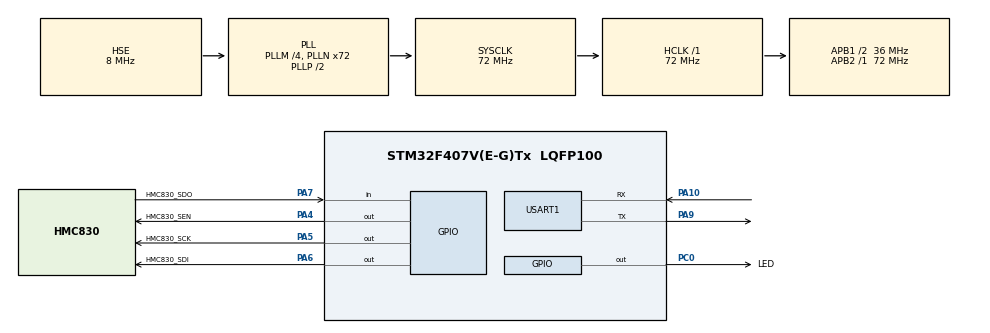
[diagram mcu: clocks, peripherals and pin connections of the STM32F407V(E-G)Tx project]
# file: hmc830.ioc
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Mcu.Family=STM32F4
Mcu.Name=STM32F407V(E-G)Tx
Mcu.Package=LQFP100
NVIC.PriorityGroup=NVIC_PRIORITYGROUP_4
NVIC.TIM1_UP_TIM10_IRQn=true\:15\:0\:true\:false\:true\:true\:true\:true
PA10.Mode=Asynchronous
PA10.Signal=USART1_RX
PA13.Mode=Serial_Wire
PA13.Signal=SYS_JTMS-SWDIO
PA14.Mode=Serial_Wire
PA14.Signal=SYS_JTCK-SWCLK
PA4.GPIO_Label=HMC830_SEN
PA4.GPIO_ModeDefaultOutputPP=GPIO_MODE_OUTPUT_PP
PA4.GPIO_PuPd=GPIO_PULLDOWN
PA4.GPIO_Speed=GPIO_SPEED_FREQ_VERY_HIGH
PA4.Signal=GPIO_Output
PA5.GPIO_Label=HMC830_SCK
PA5.GPIO_PuPd=GPIO_PULLDOWN
PA5.GPIO_Speed=GPIO_SPEED_FREQ_VERY_HIGH
PA5.Signal=GPIO_Output
PA6.GPIO_Label=HMC830_SDI
PA6.GPIO_PuPd=GPIO_PULLDOWN
PA6.GPIO_Speed=GPIO_SPEED_FREQ_VERY_HIGH
PA6.Signal=GPIO_Output
PA7.GPIO_Label=HMC830_SDO
PA7.GPIO_PuPd=GPIO_NOPULL
PA7.Signal=GPIO_Input
PA9.Mode=Asynchronous
PA9.Signal=USART1_TX
PC0.GPIO_Label=LED
PC0.GPIO_Speed=GPIO_SPEED_FREQ_VERY_HIGH
PC0.Signal=GPIO_Output
PC14-OSC32_IN.Mode=LSE-External-Oscillator
PC14-OSC32_IN.Signal=RCC_OSC32_IN
PC15-OSC32_OUT.Mode=LSE-External-Oscillator
PC15-OSC32_OUT.Signal=RCC_OSC32_OUT
PH0-OSC_IN.Mode=HSE-External-Oscillator
PH0-OSC_IN.Signal=RCC_OSC_IN
PH1-OSC_OUT.Mode=HSE-External-Oscillator
PH1-OSC_OUT.Signal=RCC_OSC_OUT
ProjectManager.HeapSize=0x200
ProjectManager.StackSize=0x400
ProjectManager.TargetToolchain=Makefile
RCC.48MHZClocksFreq_Value=48000000
RCC.AHBFreq_Value=72000000
RCC.APB1CLKDivider=RCC_HCLK_DIV2
RCC.APB1Freq_Value=36000000
RCC.APB1TimFreq_Value=72000000
RCC.APB2Freq_Value=72000000
RCC.APB2TimFreq_Value=72000000
RCC.CortexFreq_Value=72000000
RCC.EnbaleCSS=true
RCC.HCLKFreq_Value=72000000
RCC.HSE_VALUE=8000000
RCC.HSI_VALUE=16000000
RCC.PLLM=4
RCC.PLLN=72
RCC.PLLQ=3
RCC.PLLSourceVirtual=RCC_PLLSOURCE_HSE
RCC.SYSCLKFreq_VALUE=72000000
RCC.SYSCLKSource=RCC_SYSCLKSOURCE_PLLCLK
RCC.VCOOutputFreq_Value=144000000
TIM1.Period=1249
TIM1.Prescaler=8399
USART1.VirtualMode=VM_ASYNC
VP_RNG_VS_RNG.Mode=RNG_Activate
VP_TIM1_VS_ClockSourceINT.Mode=Internal
board=custom

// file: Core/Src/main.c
/* USER CODE BEGIN Header */
/**
 ******************************************************************************
 * @file           : main.c
 * @brief          : Main program body
 ******************************************************************************
 * @attention
 *
 * Copyright (c) 2023 STMicroelectronics.
 * All rights reserved.
 *
 * This software is licensed under terms that can be found in the LICENSE file
 * in the root directory of this software component.
 * If no LICENSE file comes with this software, it is provided AS-IS.
 *
 ******************************************************************************
 */
/* USER CODE END Header */
#include "main.h"
#include "rng.h"
#include "tim.h"
#include "usart.h"
#include "gpio.h"

/* USER CODE BEGIN PV */
unsigned int led_state = 0;
/* USER CODE END PV */

void SystemClock_Config(void);

/* USER CODE BEGIN 0 */
int _write(int file, char *ptr, int len)
{
  HAL_UART_Transmit(&huart1, (const uint8_t *)ptr, len, HAL_MAX_DELAY);
  return len;
}
/* USER CODE END 0 */

int main(void)
{

  /* MCU Configuration--------------------------------------------------------*/

  /* Reset of all peripherals, Initializes the Flash interface and the Systick. */
  HAL_Init();

  /* Configure the system clock */
  SystemClock_Config();

  /* Initialize all configured peripherals */
  MX_GPIO_Init();
  MX_TIM1_Init();
  MX_USART1_UART_Init();
  MX_RNG_Init();
  /* USER CODE BEGIN 2 */

  printf("Hello World.\r\n");
  HAL_TIM_Base_Start_IT(&htim1);

  hmc830_init(
      HMC830_SEN_GPIO_Port, HMC830_SEN_Pin,
      HMC830_SDO_GPIO_Port, HMC830_SDO_Pin,
      HMC830_SDI_GPIO_Port, HMC830_SDI_Pin,
      HMC830_SCK_GPIO_Port, HMC830_SCK_Pin);
  hmc830_set_dividers(20, 0);

  unsigned int reg_buffer[32] = {0};
  hmc830_chip_read_regs(reg_buffer);
  for (unsigned char i = 0; i <= 0x13; ++i)
  {
    printf("Addr %02x: %06x\r\n", i, reg_buffer[i]);
  }

  /* USER CODE END 2 */

  /* Infinite loop */
  while (1)
  {

  }
}

void SystemClock_Config(void)
{
  RCC_OscInitTypeDef RCC_OscInitStruct = {0};
  RCC_ClkInitTypeDef RCC_ClkInitStruct = {0};

  /** Configure the main internal regulator output voltage
   */
  __HAL_RCC_PWR_CLK_ENABLE();
  __HAL_PWR_VOLTAGESCALING_CONFIG(PWR_REGULATOR_VOLTAGE_SCALE1);

  /** Initializes the RCC Oscillators according to the specified parameters
   * in the RCC_OscInitTypeDef structure.
   */
  RCC_OscInitStruct.OscillatorType = RCC_OSCILLATORTYPE_HSE;
  RCC_OscInitStruct.HSEState = RCC_HSE_ON;
  RCC_OscInitStruct.PLL.PLLState = RCC_PLL_ON;
  RCC_OscInitStruct.PLL.PLLSource = RCC_PLLSOURCE_HSE;
  RCC_OscInitStruct.PLL.PLLM = 4;
  RCC_OscInitStruct.PLL.PLLN = 72;
  RCC_OscInitStruct.PLL.PLLP = RCC_PLLP_DIV2;
  RCC_OscInitStruct.PLL.PLLQ = 3;
  if (HAL_RCC_OscConfig(&RCC_OscInitStruct) != HAL_OK)
  {
    Error_Handler();
  }

  /** Initializes the CPU, AHB and APB buses clocks
   */
  RCC_ClkInitStruct.ClockType = RCC_CLOCKTYPE_HCLK | RCC_CLOCKTYPE_SYSCLK | RCC_CLOCKTYPE_PCLK1 | RCC_CLOCKTYPE_PCLK2;
  RCC_ClkInitStruct.SYSCLKSource = RCC_SYSCLKSOURCE_PLLCLK;
  RCC_ClkInitStruct.AHBCLKDivider = RCC_SYSCLK_DIV1;
  RCC_ClkInitStruct.APB1CLKDivider = RCC_HCLK_DIV2;
  RCC_ClkInitStruct.APB2CLKDivider = RCC_HCLK_DIV1;

  if (HAL_RCC_ClockConfig(&RCC_ClkInitStruct, FLASH_LATENCY_2) != HAL_OK)
  {
    Error_Handler();
  }

  /** Enables the Clock Security System
   */
  HAL_RCC_EnableCSS();
}

void Error_Handler(void)
{
  __disable_irq();
  while (1)
  {
  }
}
